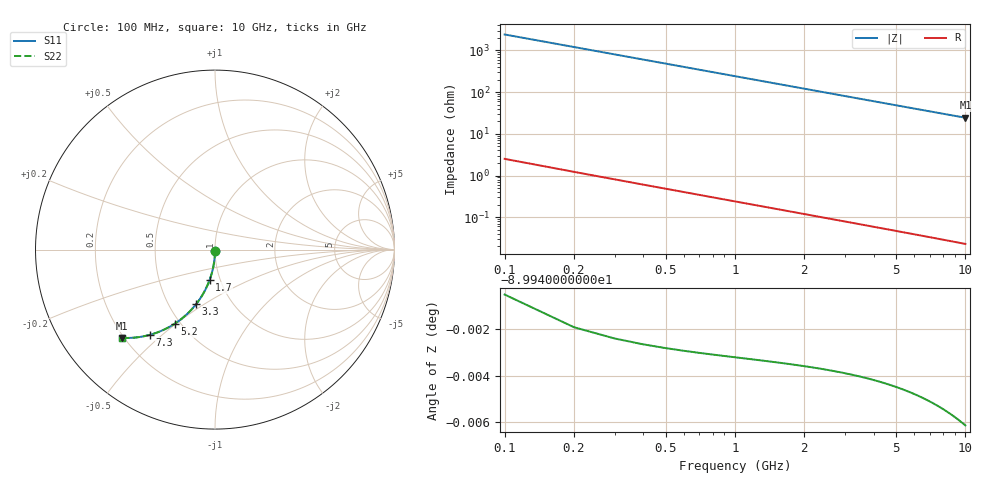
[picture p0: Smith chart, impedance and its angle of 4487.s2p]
# Hz S RI R 50.00
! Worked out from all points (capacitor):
!   100 points, 100 MHz to 10 GHz, reference 50 ohm
!   read as one part in shunt: C = 659 fF near 100 MHz
!   lowest |Z| = 24.3 ohm at 10 GHz (marker M1)
!   S11 on the Smith chart (normalised r, x): 100 MHz: 1.00, -0.02; 1.7 GHz: 0.89, -0.31; 3.3 GHz: 0.68, -0.46; 5.2 GHz: 0.47, -0.49; 7.3 GHz: 0.31, -0.46; 10 GHz: 0.19, -0.39
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1e8  -6.16e-05 -0.0103  0.9998 -0.0104  0.9998 -0.0104  -6.16e-05 -0.0103
2e8  -0.000392 -0.0205  0.9995 -0.0208  0.9995 -0.0208  -0.000392 -0.0205
3e8  -0.000937 -0.0308  0.9989 -0.0312  0.9989 -0.0312  -0.000937 -0.0308
4e8  -0.00169 -0.041  0.9982 -0.0416  0.9982 -0.0416  -0.00169 -0.041
5e8  -0.00266 -0.0512  0.9972 -0.052  0.9972 -0.052  -0.00266 -0.0512
6e8  -0.00384 -0.0614  0.996 -0.0623  0.996 -0.0623  -0.00384 -0.0614
8e8  -0.00683 -0.0816  0.9931 -0.0828  0.9931 -0.0828  -0.00683 -0.0816
1.1e9  -0.0128 -0.1115  0.987 -0.1132  0.987 -0.1132  -0.0128 -0.1115
1.4e9  -0.0206 -0.1408  0.9793 -0.1429  0.9793 -0.1429  -0.0206 -0.1408
1.7e9  -0.0301 -0.1693  0.9698 -0.1718  0.9698 -0.1718  -0.0301 -0.1693
1.8e9  -0.0336 -0.1786  0.9662 -0.1813  0.9662 -0.1813  -0.0336 -0.1786
2.1e9  -0.0452 -0.2058  0.9547 -0.209  0.9547 -0.209  -0.0452 -0.2058
2.5e9  -0.0629 -0.2405  0.937 -0.2442  0.937 -0.2442  -0.0629 -0.2405
3.3e9  -0.1046 -0.3032  0.8953 -0.3081  0.8953 -0.3081  -0.1046 -0.3032
3.4e9  -0.1103 -0.3103  0.8895 -0.3154  0.8895 -0.3154  -0.1103 -0.3103
4.2e9  -0.1591 -0.3622  0.8408 -0.3684  0.8408 -0.3684  -0.1591 -0.3622
5.1e9  -0.218 -0.4086  0.7818 -0.4163  0.7818 -0.4163  -0.218 -0.4086
5.2e9  -0.2247 -0.4131  0.7751 -0.4208  0.7751 -0.4208  -0.2247 -0.4131
6.7e9  -0.3248 -0.4628  0.675 -0.4729  0.675 -0.4729  -0.3248 -0.4628
7.3e9  -0.3635 -0.4751  0.6363 -0.486  0.6363 -0.486  -0.3635 -0.4751
8.4e9  -0.4306 -0.4884  0.5691 -0.501  0.5691 -0.501  -0.4306 -0.4884
1e10  -0.5175 -0.4916  0.4823 -0.5067  0.4823 -0.5067  -0.5175 -0.4916
